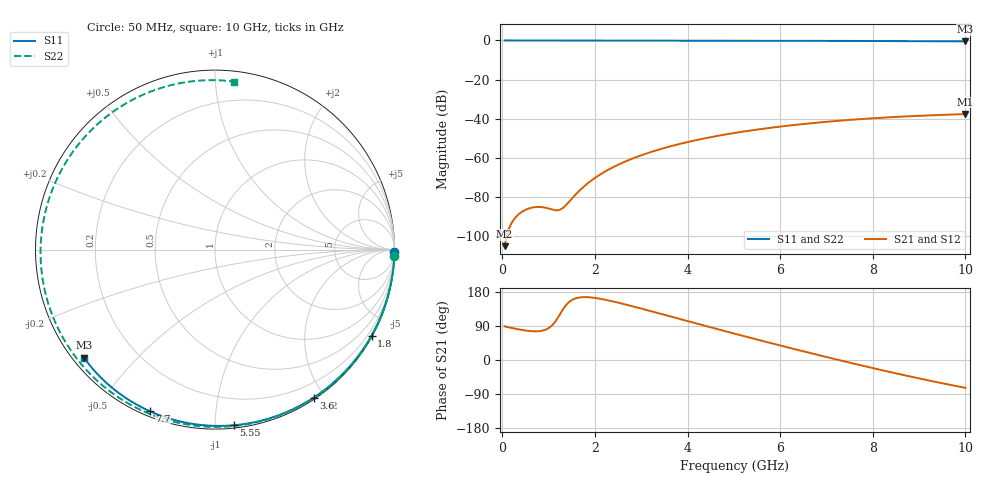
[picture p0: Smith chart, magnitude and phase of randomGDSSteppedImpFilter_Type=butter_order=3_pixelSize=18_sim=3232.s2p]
! freq	dB(S11)	phase(S11)	dB(S12)	phase(S12)
!  dB(S21)	phase(S21)	dB(S22)	phase(S22)
!S-par simulation data
#  GHz  S  DB  R 50
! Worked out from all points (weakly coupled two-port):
!   200 points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, 50 MHz to 10 GHz, reference 50 ohm
!   highest |S21| = -37.68 dB at 10 GHz (marker M1); lowest = -105.3 dB at 50 MHz (marker M2)
!   lowest |S11| = -0.5 dB at 10 GHz (marker M3), VSWR 36.48, Z = 1.55 - j17.9 ohm
!   |S11| at or under -10 dB: nowhere
!   |S22| runs from -0.5 to 0.0 dB; largest |S21 - S12| = 0
!   S11 on the Smith chart (normalised r, x): 50 MHz: open; 1.8 GHz: 0.03, -3.89; 3.6 GHz: 0.02, -1.87; 5.55 GHz: 0.02, -1.11; 7.7 GHz: 0.02, -0.67; 10 GHz: 0.03, -0.36
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0.05  -0.00 -0.8  -105.27 88.8  -105.27 88.8  -0.00 -2.0
0.35  -0.01 -5.7  -89.04 80.9  -89.04 80.9  -0.02 -13.8
0.7  -0.01 -11.3  -85.30 75.6  -85.30 75.6  -0.04 -27.4
1.1  -0.02 -17.7  -86.68 94.6  -86.68 94.6  -0.05 -42.6
1.5  -0.03 -24.1  -80.98 158.0  -80.98 158.0  -0.07 -57.2
1.55  -0.03 -24.9  -79.67 161.1  -79.67 161.1  -0.07 -59.0
1.75  -0.04 -28.0  -75.00 165.9  -75.00 165.9  -0.08 -66.0
1.8  -0.04 -28.8  -73.98 166.0  -73.98 166.0  -0.08 -67.7
2.1  -0.04 -33.5  -68.80 161.9  -68.80 161.9  -0.09 -77.8
2.45  -0.05 -38.9  -64.19 152.8  -64.19 152.8  -0.10 -89.1
2.9  -0.06 -45.8  -59.63 139.0  -59.63 139.0  -0.12 -102.9
3.4  -0.07 -53.3  -55.70 122.6  -55.70 122.6  -0.13 -117.3
3.6  -0.08 -56.2  -54.36 116.0  -54.36 116.0  -0.14 -122.8
4.3  -0.09 -66.4  -50.44 92.8  -50.44 92.8  -0.17 -141.1
5.05  -0.12 -77.0  -47.21 68.4  -47.21 68.4  -0.20 -159.5
5.55  -0.14 -83.9  -45.45 52.4  -45.45 52.4  -0.23 -171.2
6.1  -0.16 -91.3  -43.80 35.2  -43.80 35.2  -0.26 176.1
6.7  -0.19 -99.2  -42.29 16.8  -42.29 16.8  -0.29 162.4
7.7  -0.26 -112.0  -40.30 -12.8  -40.30 -12.8  -0.36 139.5
8.35  -0.31 -120.2  -39.33 -31.1  -39.33 -31.1  -0.40 124.2
9.2  -0.39 -130.7  -38.35 -53.8  -38.35 -53.8  -0.46 103.6
10  -0.48 -140.5  -37.68 -73.4  -37.68 -73.4  -0.52 83.5
